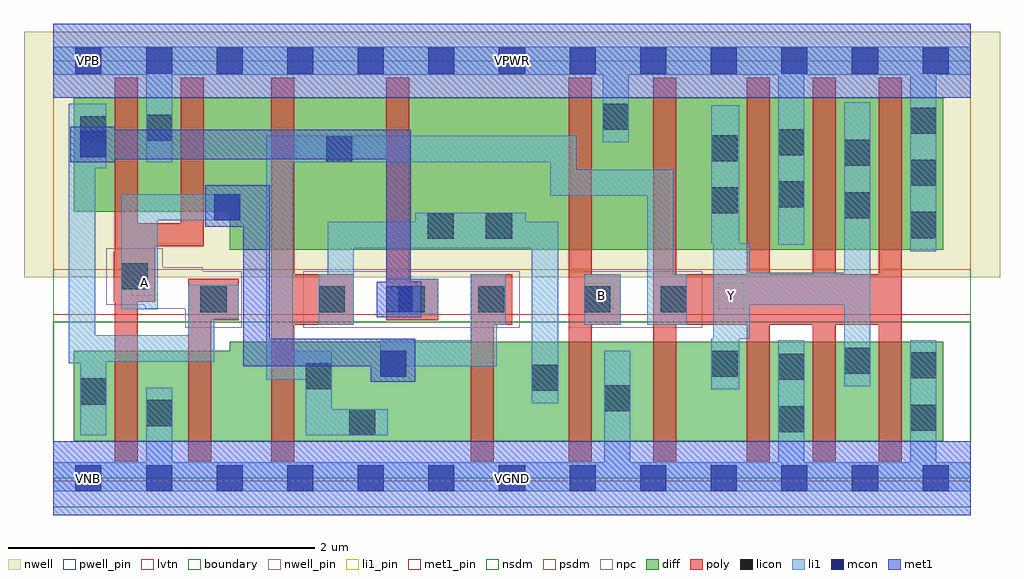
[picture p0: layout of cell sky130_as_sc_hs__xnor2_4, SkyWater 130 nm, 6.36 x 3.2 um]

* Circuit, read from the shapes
.subckt sky130_as_sc_hs__xnor2_4 A B VGND VNB VPB VPWR Y
XM1 VGND A n1 VNB sky130_fd_pr__nfet_01v8_lvt w=0.59 l=0.15
XM2 n2 n1 VGND VNB sky130_fd_pr__nfet_01v8_lvt w=0.59 l=0.15
XM3 n3 n4 n2 VNB sky130_fd_pr__nfet_01v8_lvt w=0.65 l=0.15
XM4 n4 A n3 VNB sky130_fd_pr__nfet_01v8_lvt w=0.65 l=0.15
XM5 VGND B n4 VNB sky130_fd_pr__nfet_01v8_lvt w=0.65 l=0.15
XM6 Y n3 VGND VNB sky130_fd_pr__nfet_01v8_lvt w=0.65 l=0.15 m=4
XM7 VPWR A n1 VPB sky130_fd_pr__pfet_01v8 w=0.745 l=0.15
XM8 n5 A VPWR VPB sky130_fd_pr__pfet_01v8 w=0.745 l=0.15
XM9 n3 n4 n5 VPB sky130_fd_pr__pfet_01v8 w=0.99 l=0.15
XM10 n4 n1 n3 VPB sky130_fd_pr__pfet_01v8 w=0.99 l=0.15
XM11 VPWR B n4 VPB sky130_fd_pr__pfet_01v8 w=0.99 l=0.15
XM12 Y n3 VPWR VPB sky130_fd_pr__pfet_01v8 w=0.99 l=0.15 m=4
.ends

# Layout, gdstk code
import gdstk
lib = gdstk.Library(unit=1e-6, precision=1e-09)
def R(c, l, rs):  # rectangles x0, y0, x1, y1
    for r in rs: c.add(gdstk.rectangle(r[:2], r[2:], *l))
def A(c, l, x, y, w, h, nx, ny, dx, dy):  # array of equal rectangles
    R(c, l, [(x+i*dx, y+j*dy, x+i*dx+w, y+j*dy+h) for i in range(nx) for j in range(ny)])
nwell_pin = (64, 16)
nwell = (64, 20)
diff = (65, 20)
poly = (66, 20)
licon = (66, 44)
li1_pin = (67, 16)
li1 = (67, 20)
mcon = (67, 44)
met1_pin = (68, 16)
met1 = (68, 20)
nsdm = (93, 44)
psdm = (94, 20)
npc = (95, 20)
pwell_pin = (122, 16)
lvtn = (125, 44)
boundary = (235, 4)

sky130_as_sc_hs__xnor2_4 = lib.new_cell('sky130_as_sc_hs__xnor2_4')
R(sky130_as_sc_hs__xnor2_4, nwell_pin, [(0.145,2.635,0.315,2.805)])
R(sky130_as_sc_hs__xnor2_4, nwell, [(-0.19,1.31,6.17,2.91)])
R(sky130_as_sc_hs__xnor2_4, diff, [(0.135,0.24,5.8,0.83), (1.15,0.83,5.8,0.89), (1.15,1.49,5.8,1.735), (0.135,1.735,5.8,2.48)])
A(sky130_as_sc_hs__xnor2_4, poly, 4.52, 0.11, 0.15, 0.89, 3, 1, 0.43, 0)
A(sky130_as_sc_hs__xnor2_4, poly, 4.52, 1.33, 0.15, 1.28, 3, 1, 0.43, 0)
R(sky130_as_sc_hs__xnor2_4, poly, [(0.4,0.11,0.55,1.15), (0.88,0.11,1.03,1.03), (1.42,0.11,1.57,1), (2.72,0.11,2.87,1), (3.36,0.11,3.51,1), (3.91,0.11,4.06,1), (1.42,1,1.96,1.33), (2.72,1,2.99,1.33), (3.36,1,3.7,1.33), (3.91,1,5.53,1.33), (0.88,1.03,1.21,1.3), (2.17,1.03,2.51,1.3), (0.395,1.15,0.665,1.48), (2.17,1.3,2.32,2.61), (1.42,1.33,1.57,2.61), (3.36,1.33,3.51,2.61), (3.91,1.33,4.06,2.61), (0.4,1.48,0.665,1.51), (0.4,1.51,0.98,1.66), (0.4,1.66,0.55,2.61), (0.83,1.66,0.98,2.61)])
A(sky130_as_sc_hs__xnor2_4, licon, 1.73, 1.08, 0.17, 0.17, 3, 1, 0.52, 0)
A(sky130_as_sc_hs__xnor2_4, licon, 5.585, 1.565, 0.17, 0.17, 1, 3, 0, 0.34)
R(sky130_as_sc_hs__xnor2_4, licon, [(1.93,0.28,2.1,0.45), (4.725,0.3,4.895,0.47), (5.585,0.31,5.755,0.48), (0.605,0.34,0.775,0.51), (3.59,0.435,3.76,0.605), (0.175,0.48,0.345,0.65), (3.12,0.57,3.29,0.74), (1.645,0.58,1.815,0.75), (4.725,0.64,4.895,0.81), (5.585,0.65,5.755,0.82), (4.29,0.66,4.46,0.83), (5.155,0.68,5.325,0.85), (0.96,1.08,1.13,1.25), (3.46,1.08,3.63,1.25), (3.96,1.08,4.13,1.25), (0.445,1.23,0.615,1.4), (2.44,1.56,2.61,1.73), (2.82,1.56,2.99,1.73), (5.155,1.695,5.325,1.865), (4.29,1.725,4.46,1.895), (4.725,1.765,4.895,1.935), (5.155,2.035,5.325,2.205), (1.78,2.06,1.95,2.23), (4.29,2.065,4.46,2.235), (4.725,2.105,4.895,2.275), (0.175,2.19,0.345,2.36), (0.605,2.2,0.775,2.37), (3.58,2.27,3.75,2.44)])
R(sky130_as_sc_hs__xnor2_4, li1_pin, [(3.485,1.105,3.655,1.275), (4.335,1.105,4.505,1.275), (0.51,1.19,0.68,1.36)])
R(sky130_as_sc_hs__xnor2_4, li1, [(0,-0.085,5.98,0.105), (0.605,0.105,0.775,0.59), (3.59,0.105,3.76,0.83), (4.725,0.105,4.895,0.9), (5.585,0.105,5.755,0.9), (0.175,0.28,0.345,0.75), (1.645,0.28,2.18,0.45), (1.645,0.45,1.815,0.64), (3.12,0.49,3.29,1.5), (4.29,0.58,4.47,0.91), (5.155,0.6,5.325,1.13), (1.39,0.64,1.815,0.83), (2.13,0.66,2.3,0.73), (2.13,0.73,2.89,0.9), (0.1,0.75,0.345,0.76), (0.1,0.76,1.05,0.93), (1.39,0.83,1.56,2.06), (2.72,0.9,2.89,1), (4.3,0.91,4.54,1.13), (0.1,0.93,0.275,2.02), (0.88,0.93,1.05,1.04), (1.73,1,1.96,1.33), (2.72,1,2.95,1.33), (3.46,1,3.7,1.33), (3.87,1,4.13,1.33), (0.88,1.04,1.21,1.26), (2.17,1.07,2.51,1.3), (0.445,1.1,0.68,1.68), (4.3,1.13,5.325,1.34), (1.79,1.33,1.96,1.5), (3.87,1.33,4.04,1.84), (4.3,1.34,4.54,1.53), (5.155,1.34,5.325,2.45), (5.585,1.48,5.755,2.63), (1.79,1.5,3.29,1.67), (4.725,1.52,4.895,2.63), (4.29,1.53,4.47,2.43), (2.36,1.67,3.08,1.73), (0.445,1.68,1.22,1.85), (3.24,1.84,4.04,2.01), (3.24,2.01,3.41,2.06), (0.1,2.02,0.345,2.44), (0.605,2.06,0.775,2.63), (1.39,2.06,3.41,2.23), (3.58,2.19,3.75,2.63), (0,2.63,5.98,2.81)])
A(sky130_as_sc_hs__xnor2_4, mcon, 0.145, -0.085, 0.17, 0.17, 13, 2, 0.46, 2.72)
R(sky130_as_sc_hs__xnor2_4, mcon, [(2.13,0.66,2.3,0.83), (2.17,1.08,2.34,1.25), (1.05,1.68,1.22,1.85), (0.175,2.09,0.345,2.26)])
R(sky130_as_sc_hs__xnor2_4, met1_pin, [(0,-0.24,5.98,0.24), (0.145,-0.085,0.315,0.085), (0,2.48,5.98,2.96), (0.145,2.635,0.315,2.805)])
R(sky130_as_sc_hs__xnor2_4, met1, [(0,-0.24,5.98,0.24), (2.07,0.63,2.36,0.73), (1.24,0.73,2.36,0.91), (1.24,0.91,1.41,1.64), (2.11,1.05,2.4,1.28), (2.17,1.28,2.33,2.08), (0.99,1.64,1.41,1.91), (0.11,2.06,0.4,2.08), (0.11,2.08,2.33,2.27), (0.11,2.27,0.4,2.29), (0,2.48,5.98,2.96)])
R(sky130_as_sc_hs__xnor2_4, nsdm, [(0,-0.19,5.98,1.02)])
R(sky130_as_sc_hs__xnor2_4, psdm, [(0,1.36,5.98,2.91)])
R(sky130_as_sc_hs__xnor2_4, npc, [(0.86,0.98,1.23,1.105), (1.63,0.98,3.04,1.35), (3.36,0.98,4.23,1.35), (0.6,1.105,1.23,1.13), (0.345,1.13,1.23,1.35), (0.345,1.35,0.975,1.375), (0.345,1.375,0.715,1.5)])
R(sky130_as_sc_hs__xnor2_4, pwell_pin, [(0.145,-0.085,0.315,0.085)])
R(sky130_as_sc_hs__xnor2_4, lvtn, [(0,-0.02,5.98,1.07)])
R(sky130_as_sc_hs__xnor2_4, boundary, [(0,0,5.98,2.72)])
sky130_as_sc_hs__xnor2_4.add(gdstk.Label('VNB', (0.23,0), layer=64, texttype=59))
sky130_as_sc_hs__xnor2_4.add(gdstk.Label('VNB', (0.23,0), layer=64, texttype=59))
sky130_as_sc_hs__xnor2_4.add(gdstk.Label('VPB', (0.23,2.72), layer=64, texttype=5))
sky130_as_sc_hs__xnor2_4.add(gdstk.Label('VPB', (0.23,2.72), layer=64, texttype=5))
sky130_as_sc_hs__xnor2_4.add(gdstk.Label('B', (3.57,1.19), layer=67, texttype=5))
sky130_as_sc_hs__xnor2_4.add(gdstk.Label('Y', (4.42,1.19), layer=67, texttype=5))
sky130_as_sc_hs__xnor2_4.add(gdstk.Label('A', (0.595,1.275), layer=67, texttype=5))
sky130_as_sc_hs__xnor2_4.add(gdstk.Label('A', (0.595,1.275), layer=67, texttype=5))
sky130_as_sc_hs__xnor2_4.add(gdstk.Label('Y', (4.42,1.19), layer=67, texttype=5))
sky130_as_sc_hs__xnor2_4.add(gdstk.Label('B', (3.57,1.19), layer=67, texttype=5))
sky130_as_sc_hs__xnor2_4.add(gdstk.Label('VPWR', (2.99,2.72), layer=68, texttype=5))
sky130_as_sc_hs__xnor2_4.add(gdstk.Label('VPWR', (0.23,2.72), layer=68, texttype=5))
sky130_as_sc_hs__xnor2_4.add(gdstk.Label('VGND', (2.99,0), layer=68, texttype=5))
sky130_as_sc_hs__xnor2_4.add(gdstk.Label('VGND', (0.23,0), layer=68, texttype=5))

lib.write_gds('sky130_as_sc_hs__xnor2_4.gds')
